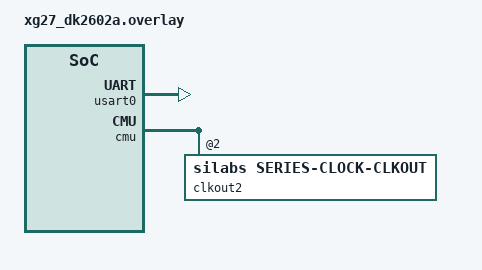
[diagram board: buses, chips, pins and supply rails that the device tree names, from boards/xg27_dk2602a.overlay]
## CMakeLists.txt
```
# Copyright (c) 2026 Silicon Laboratories Inc.
# SPDX-License-Identifier: Apache-2.0

cmake_minimum_required(VERSION 3.20.0)
find_package(Zephyr REQUIRED HINTS $ENV{ZEPHYR_BASE})
project(i2s_silabs_efr32_usart_unity)

# Unity is fetched by west into <workspace>/modules/lib/unity (submanifests/unity.yaml).
# Use the CMake variable ZEPHYR_BASE (set by find_package(Zephyr)), not $ENV{ZEPHYR_BASE}:
# west build often leaves the shell env unset, which breaks $ENV{ZEPHYR_BASE}/../...
if(DEFINED WEST_TOPDIR AND NOT "${WEST_TOPDIR}" STREQUAL "")
  set(UNITY_DIR "${WEST_TOPDIR}/modules/lib/unity/src")
else()
  get_filename_component(UNITY_DIR "${ZEPHYR_BASE}/../modules/lib/unity/src" ABSOLUTE)
endif()

if(NOT EXISTS "${UNITY_DIR}/unity.c")
  message(FATAL_ERROR
    "Unity not found at ${UNITY_DIR}/unity.c\n"
    "From your west workspace (e.g. projects/), run: west update")
endif()

target_include_directories(app PRIVATE ${UNITY_DIR} ${CMAKE_CURRENT_LIST_DIR}/src)
target_compile_definitions(app PRIVATE UNITY_INCLUDE_CONFIG_H)
target_sources(app PRIVATE
    ${UNITY_DIR}/unity.c
    src/test_i2s_efr32_common.c
    src/test_runner.c
    src/test_i2s_efr32_configure.c
    src/test_i2s_efr32_write.c
    src/test_i2s_efr32_read.c
    src/test_i2s_efr32_trigger.c
    src/test_i2s_efr32_sign_extension.c
    src/test_clock_measure.c
)
```

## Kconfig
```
# Copyright (c) 2026 Silicon Laboratories Inc.
# SPDX-License-Identifier: Apache-2.0

mainmenu "I2S Silabs EFR32 USART driver tests (Unity)"

source "Kconfig.zephyr"

config I2S_EFR32_TEST_LOOPBACK
	bool "Run loopback data-integrity tests"
	help
	  Enable the loopback test group. Requires an external wire from
	  USART0 TX to USART0 RX: on xG27-DK2602A use PC0<->PC1; on
	  xG27-RB4194A (BRD4194A) use PA8<->PA7 (PA8 is on the Silabs
	  expansion header pin 13 per boards/xg27_rb4194a devicetree).
	  Without the wire the read side blocks and tests time out.

config I2S_EFR32_TEST_LOOPBACK_DEBUG
	bool "Extra printk in loopback tests (driver RX path hints)"
	depends on I2S_EFR32_TEST_LOOPBACK
	default n
	help
	  Prints short debug lines before pattern verify (expected DMA path,
	  raw 32-bit preview of first RX words). Enable while chasing hardware
	  or wiring issues; leave off for quiet logs.

config I2S_EFR32_TEST_LOOPBACK_TRACE
	bool "Dense printk in loopback tests (hex + raw u32 + stride hints)"
	depends on I2S_EFR32_TEST_LOOPBACK
	default n
	help
	  Large dumps on the UART: extended RX/TX hex, raw memory as uint32_t,
	  and halfword/byte stride hints. For local debug only.

config I2S_EFR32_TEST_FRAME_CLK_HZ
	int "Frame clock used by tests (Hz)"
	default 16000
	help
	  The driver rejects frame clocks below 8 kHz, so 8000 is the
	  practical minimum. Pick something the on-board clock tree can
	  divide down to a small CLKDIV error -- 16 kHz with a 76.8 MHz
	  HFRCODPLL gives an exact divider for 16-bit stereo.

menu "Unity test runner output"

config I2S_EFR32_TEST_VERBOSE
	bool "Verbose output (-v): print TEST(group, name) PASS for each test"
	help
	  Equivalent to passing "-v" to UnityMain. Prints one line per test
	  with the group and case name, instead of a single "." per pass.
	  Recommended when developing or triaging a failure.

config I2S_EFR32_TEST_SILENT
	bool "Silent output (-s): only print failures and the summary"
	depends on !I2S_EFR32_TEST_VERBOSE
	help
	  Equivalent to passing "-s" to UnityMain. Suppresses the "." per
	  pass; only failed assertions and the final totals are printed.
	  Useful for CI logs you only ever read on failure.

config I2S_EFR32_TEST_GROUP_FILTER
	string "Only run TEST_GROUPs whose name contains this substring"
	default ""
	help
	  Equivalent to passing "-g <value>" to UnityMain. Empty string
	  means "run every group". Example: "i2s_efr32_clock" runs only
	  the clock group.

config I2S_EFR32_TEST_NAME_FILTER
	string "Only run TEST cases whose name contains this substring"
	default ""
	help
	  Equivalent to passing "-n <value>" to UnityMain. Empty string
	  means "run every case in the selected group(s)".

config I2S_EFR32_TEST_REPEAT
	int "Repeat the whole suite N times"
	default 1
	range 1 1000
	help
	  Equivalent to passing "-r <N>" to UnityMain. Useful for stress
	  testing or chasing intermittent failures. 1 = run once.

endmenu
```

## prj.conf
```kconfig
# printk only for test output; driver LOG_* would flood UART and cause drops.
CONFIG_LOG=n
CONFIG_DMA=y
CONFIG_I2S=y
CONFIG_I2S_SILABS_EFR32_USART=y
CONFIG_MAIN_STACK_SIZE=4096
CONFIG_PRINTK=y

# Clock-measurement tests use GPIO + k_cycle_get_32() only (em_cmu/em_gpio).
# The I2S driver does not need em_timer / em_prs (see Kconfig.efr32_usart).

# PRS and TIMER1 are used for clock measurement.
CONFIG_SILABS_SISDK_PRS=y
CONFIG_SILABS_SISDK_TIMER=y
```

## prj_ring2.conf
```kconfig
# Ring depth 2 variant (unity_rb_ring2 build directory).
# Merge with prj.conf via CONF_FILE=prj.conf;prj_ring2.conf

CONFIG_I2S_SILABS_EFR32_USART_TX_BLOCK_COUNT=2
CONFIG_I2S_SILABS_EFR32_USART_RX_BLOCK_COUNT=2
```

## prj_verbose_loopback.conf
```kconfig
# Optional overlay for local bring-up: one log line per Unity test (-v)
# and loopback data-integrity groups (requires TX->RX jumper on the board).
#
# From projects/zephyr-4.4.0 (Zephyr tree root):
#
#   west build -b xg27_rb4194a -d build_vlb \
#     tests/drivers/i2s/i2s_silabs_efr32_usart -- \
#     "-DEXTRA_CONF_FILE=prj_verbose_loopback.conf"
#
# PowerShell: quote the -D value so `.conf` is not split into a separate token.
# Bash/zsh:  -DEXTRA_CONF_FILE=prj_verbose_loopback.conf  is fine.
#
# Wiring: DK2602A PC0<->PC1; RB4194A PA8<->PA7.

CONFIG_I2S_EFR32_TEST_VERBOSE=y
CONFIG_I2S_EFR32_TEST_LOOPBACK=y
```

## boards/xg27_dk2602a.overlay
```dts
/*
 * xG27-DK2602A: USART0 I2S on PC0/PC1/PC2 with word-select on PB2.
 * Disables the on-board MX25R8035F flash that otherwise owns USART0.
 *
 * CMU CLKOUT2 (PB0): MCO routing for the test-image-only clock-measurement
 * suite. Not required by the I2S driver itself.
 */

#include <zephyr/dt-bindings/pinctrl/silabs/xg27-pinctrl.h>
#include <zephyr/dt-bindings/dma/silabs/xg27-dma.h>

&dma0 {
	status = "okay";
};

/ {
	aliases {
		i2s-tx = &usart0;
	};
};

&pinctrl {
	usart0_i2s_default: usart0_i2s_default {
		group0 {
			pins = <USART0_TX_PC0>, <USART0_CLK_PC2>, <USART0_CS_PB2>;
			drive-push-pull;
			output-high;
		};

		group1 {
			pins = <USART0_RX_PC1>;
			input-enable;
		};
	};
};

/delete-node/ &mx25r80;

&usart0 {
	compatible = "silabs,efr32-usart-i2s";
	/delete-property/ cs-gpios;
	#address-cells = <1>;
	#size-cells = <0>;
	status = "okay";
	pinctrl-0 = <&usart0_i2s_default>;
	pinctrl-names = "default";
	silabs,mclk-out = <&clkout2>;
	dmas = <&dma0 DMA_REQSEL_USART0TXBL>,
	       <&dma0 DMA_REQSEL_USART0TXBLRIGHT>,
	       <&dma0 DMA_REQSEL_USART0RXDATAV>;
	dma-names = "txbl", "txblright", "rx";
};

&pinctrl {
	clkout_default: clkout_default {
		group0 {
			pins = <CMU_CLKOUT2_PB0>;
			drive-push-pull;
		};
	};
};

/ {
	exportclk: exportclk {
		compatible = "silabs,series2-exportclk";
		#clock-cells = <0>;
		status = "okay";
	};
};

&cmu {
	#address-cells = <1>;
	#size-cells = <0>;
	pinctrl-0 = <&clkout_default>;
	pinctrl-names = "default";

	clkout2: clkout@2 {
		compatible = "silabs,series-clock-clkout";
		reg = <2>;
		#clock-cells = <0>;
		clocks = <&exportclk>;
		clock-div = <4>;
	};
};
```

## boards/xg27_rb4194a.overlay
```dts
/*
 * xG27-RB4194A: USART0 I2S on PC0/PC1/PC2/PC3.
 * Disables on-board flash/display nodes that conflict with USART0.
 *
 * silabs_cmu_clkout: MCO on PB0 (EXP7) for clock-measurement / MCLK bring-up.
 * Not required by the I2S data path itself.
 */

#include <zephyr/dt-bindings/pinctrl/silabs/xg27-pinctrl.h>
#include <zephyr/dt-bindings/dma/silabs/xg27-dma.h>

&dma0 {
	status = "okay";
};

/ {
	aliases {
		i2s-tx = &usart0;
		/delete-property/ spi-flash0;
	};
};

&pinctrl {
	usart0_i2s_default: usart0_i2s_default {
		group0 {
			pins = <USART0_TX_PC0>, <USART0_CLK_PC2>, <USART0_CS_PC3>;
			drive-push-pull;
			output-high;
		};

		group1 {
			pins = <USART0_RX_PC1>;
			input-enable;
		};
	};
};

&mx25r80 {
	status = "disabled";
};

&ls013b7dh03 {
	status = "disabled";
};

&eusart0 {
	status = "disabled";
};

&usart0 {
	compatible = "silabs,efr32-usart-i2s";
	#address-cells = <1>;
	#size-cells = <0>;
	status = "okay";
	pinctrl-0 = <&usart0_i2s_default>;
	pinctrl-names = "default";
	silabs,mclk-out = <&clkout2>;
	dmas = <&dma0 DMA_REQSEL_USART0TXBL>,
	       <&dma0 DMA_REQSEL_USART0TXBLRIGHT>,
	       <&dma0 DMA_REQSEL_USART0RXDATAV>;
	dma-names = "txbl", "txblright", "rx";
};

&pinctrl {
	clkout_default: clkout_default {
		group0 {
			pins = <CMU_CLKOUT2_PB0>;
			drive-push-pull;
		};
	};
};

&cmu {
	#address-cells = <1>;
	#size-cells = <0>;
	pinctrl-0 = <&clkout_default>;
	pinctrl-names = "default";

	clkout2: clkout@2 {
		compatible = "silabs,series-clock-clkout";
		reg = <2>;
		#clock-cells = <0>;
		clocks = <&exportclk>;
		clock-div = <4>;
	};
};

/ {
	exportclk: exportclk {
		compatible = "silabs,series2-exportclk";
		#clock-cells = <0>;
		status = "okay";
	};

	/*
	 * Enables BCLK/LRCLK clock tests (sample PC2/PC3 in test_clock_measure.c).
	 * No expansion-header jumpers required.
	 */
	i2s_clock_measure: i2s-clock-measure {
		compatible = "silabs,i2s-clock-measure";
		status = "okay";
		bclk-capture-port = <0>;
		bclk-capture-pin = <5>;
		lrclk-capture-port = <0>;
		lrclk-capture-pin = <6>;
		bclk-src-exp-pin = <8>;
		lrclk-src-exp-pin = <10>;
		bclk-cap-exp-pin = <12>;
		lrclk-cap-exp-pin = <14>;
	};
};
```

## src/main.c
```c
/*
 * Copyright (c) 2026 Silicon Laboratories Inc.
 * SPDX-License-Identifier: Apache-2.0
 *
 * Zephyr entry point for the Unity-driven i2s_silabs_efr32_usart on-target
 * test app.
 *
 * Test groups (stereo-only driver, channels=2):
 *   TEST_GROUP(i2s_efr32_configure)  - i2s_configure() accept/reject paths
 *   TEST_GROUP(i2s_efr32_config_get) - i2s_config_get() readback semantics
 *   TEST_GROUP(i2s_efr32_states)     - i2s_trigger() state machine
 *   TEST_GROUP(i2s_efr32_io)         - i2s_write()/i2s_read() validation
 *   TEST_GROUP(i2s_efr32_errors)     - ISR-driven ERROR + PREPARE recovery
 *   TEST_GROUP(i2s_efr32_clock)      - USART CLKDIV sanity (Silabs-specific)
 *   TEST_GROUP(i2s_efr32_mclk)       - external MCLK via CMU clkout + PRS
 *                                      capture (auto-skips if no clkout in DT)
 *   TEST_GROUP(i2s_efr32_loopback)   - end-to-end TX -> wire -> RX, channels=2
 *
 * Per-test cleanup (re-deconfigure the device before each test) is done in
 * each TEST_SETUP() / TEST_TEAR_DOWN() via i2s_efr32_test_reset_device().
 * The one-shot suite setup (verify device pointer / ready) runs here in
 * main() before UnityMain(), since Unity Fixture has no per-suite hook.
 */

#include "common.h"
#include "unity_fixture.h"

#include <stdio.h>
#include <zephyr/autoconf.h>
#include <zephyr/device.h>
#include <zephyr/drivers/i2s.h>
#include <zephyr/kernel.h>
#include <zephyr/sys/printk.h>

#define UNITY_MAX_ARGV 12

static void RunAllTests(void)
{
	RUN_TEST_GROUP(i2s_efr32_configure);
	RUN_TEST_GROUP(i2s_efr32_config_get);
	RUN_TEST_GROUP(i2s_efr32_states);
	RUN_TEST_GROUP(i2s_efr32_io);
	RUN_TEST_GROUP(i2s_efr32_errors);
	RUN_TEST_GROUP(i2s_efr32_clock);
	RUN_TEST_GROUP(i2s_efr32_mclk);
#ifdef CONFIG_I2S_EFR32_TEST_LOOPBACK
	RUN_TEST_GROUP(i2s_efr32_loopback);
#endif
}

/* Translate the I2S_EFR32_TEST_* Kconfig knobs into the argv that
 * UnityMain's CLI parser expects. Returns argc. argv[0] is the program
 * name slot Unity ignores. */
static int build_unity_argv(const char **argv, char *repeat_buf,
			    size_t repeat_buf_sz)
{
	int argc = 0;

	argv[argc++] = "i2s_efr32_unity";

#ifdef CONFIG_I2S_EFR32_TEST_VERBOSE
	argv[argc++] = "-v";
#endif
#ifdef CONFIG_I2S_EFR32_TEST_SILENT
	argv[argc++] = "-s";
#endif

	if (sizeof(CONFIG_I2S_EFR32_TEST_GROUP_FILTER) > 1) {
		argv[argc++] = "-g";
		argv[argc++] = CONFIG_I2S_EFR32_TEST_GROUP_FILTER;
	}
	if (sizeof(CONFIG_I2S_EFR32_TEST_NAME_FILTER) > 1) {
		argv[argc++] = "-n";
		argv[argc++] = CONFIG_I2S_EFR32_TEST_NAME_FILTER;
	}
	if (CONFIG_I2S_EFR32_TEST_REPEAT > 1) {
		snprintf(repeat_buf, repeat_buf_sz, "%d",
			 CONFIG_I2S_EFR32_TEST_REPEAT);
		argv[argc++] = "-r";
		argv[argc++] = repeat_buf;
	}

	return argc;
}

static void print_runner_banner(int argc, const char **argv)
{
	printk("\n*** I2S Silabs EFR32 USART driver - Unity test runner ***\n");
	printk("Device: %s @ alias i2s-node0\n", dev_i2s->name);
	printk("Driver mode: STEREO (channels=2, I2SCTRL.MONO=0, DMASPLIT=0)\n");
	printk("Frame clock: %d Hz, slab depth: tx=8 rx=8\n",
	       (int)CONFIG_I2S_EFR32_TEST_FRAME_CLK_HZ);
#ifdef CONFIG_I2S_EFR32_TEST_LOOPBACK
#if defined(CONFIG_BOARD_XG27_RB4194A)
	printk("Loopback group: ENABLED (RB4194A: jumper USART0 I2S TX->RX **PA8->PA7**)\n");
#else
	printk("Loopback group: ENABLED (jumper USART0 TX->RX: PC0<->PC1 on DK2602A)\n");
#endif
#else
	printk("Loopback group: disabled (build with "
	       "CONFIG_I2S_EFR32_TEST_LOOPBACK=y to enable)\n");
#endif
#ifdef CONFIG_I2S_EFR32_TEST_VERBOSE
	printk("Output mode: VERBOSE (-v) - one line per test\n");
#elif defined(CONFIG_I2S_EFR32_TEST_SILENT)
	printk("Output mode: SILENT (-s) - failures + summary only\n");
#else
	printk("Output mode: default - one '.' per pass, 'F' per fail.\n"
	       "  Enable CONFIG_I2S_EFR32_TEST_VERBOSE=y for per-test names,\n"
	       "  or CONFIG_I2S_EFR32_TEST_SILENT=y to suppress dots.\n");
#endif
	if (sizeof(CONFIG_I2S_EFR32_TEST_GROUP_FILTER) > 1) {
		printk("Group filter (-g): \"%s\"\n",
		       CONFIG_I2S_EFR32_TEST_GROUP_FILTER);
	}
	if (sizeof(CONFIG_I2S_EFR32_TEST_NAME_FILTER) > 1) {
		printk("Name filter  (-n): \"%s\"\n",
		       CONFIG_I2S_EFR32_TEST_NAME_FILTER);
	}
	if (CONFIG_I2S_EFR32_TEST_REPEAT > 1) {
		printk("Repeat (-r): %d iterations\n",
		       (int)CONFIG_I2S_EFR32_TEST_REPEAT);
	}

	printk("Unity argv:");
	for (int i = 0; i < argc; i++) {
		printk(" %s", argv[i]);
	}
	printk("\n----------------------------------------\n");
}

int main(void)
{
	/* Give the kernel a moment to bring up the console before we start
	 * pumping Unity output through it -- otherwise the very first
	 * character can land before the UART driver is fully up on some
	 * boards. */
	k_sleep(K_MSEC(100));

	/* One-shot suite setup: if the device is missing/not-ready we abort
	 * up front rather than letting every TEST_SETUP fail with the same
	 * error. */
	if (dev_i2s == NULL) {
		printk("FATAL: I2S device pointer is NULL "
		       "(alias i2s-node0 missing?)\n");
		return 1;
	}
	if (!device_is_ready(dev_i2s)) {
		printk("FATAL: I2S device %s is not ready\n", dev_i2s->name);
		return 1;
	}

	const char *argv[UNITY_MAX_ARGV];
	char repeat_buf[8];
	int argc = build_unity_argv(argv, repeat_buf, sizeof(repeat_buf));

	print_runner_banner(argc, argv);

	int failures = UnityMain(argc, argv, RunAllTests);

	printk("\n----------------------------------------\n");
	printk("*** Unity run complete: %d failure(s) ***\n", failures);
	return failures;
}
```

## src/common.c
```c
/*
 * Copyright (c) 2026 Silicon Laboratories Inc.
 * SPDX-License-Identifier: Apache-2.0
 */

#include "common.h"

#include <string.h>
#include <sys/types.h>
#include <zephyr/sys/printk.h>
#include <zephyr/sys/util.h>

/* Slab depth must exceed CONFIG_I2S_SILABS_EFR32_USART_TX_BLOCK_COUNT
 * (driver's TX ring capacity, default 4) so write_timeout_when_no_dma_consumer
 * can fill the ring AND keep one extra block in hand to assert the
 * sem-timeout path on the next i2s_write(). 8 covers the default and
 * leaves headroom if someone bumps the Kconfig later. */
#define NUM_TX_BLOCKS 8
#define NUM_RX_BLOCKS 8

/* Sized for the worst case (32-bit stereo) so the same slab is reusable
 * across all tests regardless of word size. */
#define MEM_SLAB_BLOCK_SIZE TEST_BLOCK_SIZE_32BIT

K_MEM_SLAB_DEFINE(tx_mem_slab, MEM_SLAB_BLOCK_SIZE, NUM_TX_BLOCKS, 32);
K_MEM_SLAB_DEFINE(rx_mem_slab, MEM_SLAB_BLOCK_SIZE, NUM_RX_BLOCKS, 32);

const struct device *const dev_i2s = DEVICE_DT_GET_OR_NULL(I2S_EFR32_DEV_NODE);

void i2s_efr32_test_make_default_cfg(struct i2s_config *cfg, enum i2s_dir dir)
{
	memset(cfg, 0, sizeof(*cfg));

	cfg->word_size      = 16U;
	cfg->channels       = 2U;
	cfg->format         = I2S_FMT_DATA_FORMAT_I2S;
	cfg->frame_clk_freq = (uint32_t)TEST_FRAME_CLK_HZ;
	cfg->options        = I2S_OPT_BIT_CLK_CONT;
	cfg->block_size     = TEST_BLOCK_SIZE_16BIT;
	cfg->mem_slab       = (dir == I2S_DIR_RX) ? &rx_mem_slab : &tx_mem_slab;
	cfg->timeout        = TEST_TIMEOUT_MS;
}

void i2s_efr32_test_fill_pattern_16(int16_t *block, size_t block_bytes,
				    uint16_t seed)
{
	const size_t n = block_bytes / sizeof(int16_t);

	for (size_t i = 0; i < n; i++) {
		uint16_t v = seed + (uint16_t)i;

		block[i] = (int16_t)((i & 1U) ? (v ^ 0x5A5AU) : v);
	}
}

void i2s_efr32_test_fill_pattern_32(int32_t *block, size_t block_bytes,
				    uint16_t seed)
{
	const size_t n = block_bytes / sizeof(int32_t);

	/* W32D32 layout note (see driver header): the 16-bit audio payload
	 * lives in the LOW half; the HIGH half is zero-padded. We mirror the
	 * pattern in the low half so verify can compare with the same seed. */
	for (size_t i = 0; i < n; i++) {
		uint16_t v = seed + (uint16_t)i;
		uint16_t payload = (i & 1U) ? (v ^ 0x5A5AU) : v;

		block[i] = (int32_t)payload;
	}
}

int i2s_efr32_test_verify_pattern_16(const int16_t *block, size_t block_bytes,
				     uint16_t seed)
{
	const size_t n = block_bytes / sizeof(int16_t);

	for (size_t i = 0; i < n; i++) {
		uint16_t v = seed + (uint16_t)i;
		int16_t  expected = (int16_t)((i & 1U) ? (v ^ 0x5A5AU) : v);

		if (block[i] != expected) {
			printk("verify16: idx=%u expected=0x%04x got=0x%04x\n",
			       (unsigned int)i, (unsigned int)(uint16_t)expected,
			       (unsigned int)(uint16_t)block[i]);
			return -1;
		}
	}
	return 0;
}

int i2s_efr32_test_verify_pattern_32(const int32_t *block, size_t block_bytes,
				     uint16_t seed)
{
	const size_t n = block_bytes / sizeof(int32_t);

	for (size_t i = 0; i < n; i++) {
		uint16_t v = seed + (uint16_t)i;
		int32_t  expected = (int32_t)(uint16_t)((i & 1U)
				    ? (v ^ 0x5A5AU) : v);

		/* Compare only the low 16 bits. On the wire W32D16 carries 16
		 * payload bits zero-padded to a 32-bit slot, and the driver's
		 * rx widen sign-extends int16 -> int32. The high 16 bits of
		 * `block[i]` are therefore a sign-extension of the low 16,
		 * not part of the test payload. */
		if ((int16_t)block[i] != (int16_t)expected) {
			printk("verify32: idx=%u expected_lo=0x%04x got_lo=0x%04x\n",
			       (unsigned int)i,
			       (unsigned int)(uint16_t)expected,
			       (unsigned int)(uint16_t)block[i]);
			return -1;
		}
	}
	return 0;
}

void i2s_efr32_test_reset_device(void)
{
	struct i2s_config null_cfg = { 0 };

	/* Best-effort: the driver treats a NULL/zero cfg as a request to
	 * deconfigure both directions, returning the device to NOT_READY.
	 * Ignore the return code - it is harmless if the previous test
	 * already left the device in NOT_READY. */
	(void)i2s_configure(dev_i2s, I2S_DIR_BOTH, &null_cfg);
}
```

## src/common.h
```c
/*
 * Copyright (c) 2026 Silicon Laboratories Inc.
 * SPDX-License-Identifier: Apache-2.0
 *
 * Shared helpers for the Unity-driven i2s_silabs_efr32_usart on-target
 * test app: device handle, mem-slab plumbing, default-cfg builder, pattern
 * fill/verify, and a setup helper that test groups call from TEST_SETUP().
 */

#ifndef I2S_EFR32_TEST_COMMON_H
#define I2S_EFR32_TEST_COMMON_H

#include <stdbool.h>
#include <stdint.h>
#include <zephyr/device.h>
#include <zephyr/drivers/i2s.h>
#include <zephyr/kernel.h>

#define I2S_EFR32_DEV_NODE DT_ALIAS(i2s_node0)

#define TEST_FRAME_CLK_HZ  CONFIG_I2S_EFR32_TEST_FRAME_CLK_HZ
#define TEST_TIMEOUT_MS    1000

/* 32 stereo frames per block. At 16 kHz / 16-bit stereo this is 2 ms of
 * audio per block, small enough that DRAIN/STOP test cases finish quickly
 * but big enough that a single LDMA transfer is not degenerate. */
#define TEST_SAMPLES_PER_BLOCK 32
#define TEST_BLOCK_SIZE_16BIT  (TEST_SAMPLES_PER_BLOCK * 2 * sizeof(int16_t))
#define TEST_BLOCK_SIZE_32BIT  (TEST_SAMPLES_PER_BLOCK * 2 * sizeof(int32_t))

extern struct k_mem_slab tx_mem_slab;
extern struct k_mem_slab rx_mem_slab;

extern const struct device *const dev_i2s;

/* Build a baseline-valid i2s_config for the Silabs driver: 16 kHz, 16-bit,
 * I2S format, controller TX+RX, no PINGPONG/LOOPBACK/PCM, mem-slab plumbing
 * already filled in. Caller may mutate fields before passing to
 * i2s_configure(). */
void i2s_efr32_test_make_default_cfg(struct i2s_config *cfg, enum i2s_dir dir);

/* Fill `block` with a deterministic ramp pattern keyed on `seed` so that
 * verify_pattern() can detect missing/duplicated samples. Callers ensure
 * `block_bytes` matches the configured word size and is a multiple of
 * 2*word_size (one stereo frame). */
void i2s_efr32_test_fill_pattern_16(int16_t *block, size_t block_bytes,
				    uint16_t seed);
void i2s_efr32_test_fill_pattern_32(int32_t *block, size_t block_bytes,
				    uint16_t seed);

/* Returns 0 on match, -1 on first divergence. Print mismatch via printk. */
int  i2s_efr32_test_verify_pattern_16(const int16_t *block, size_t block_bytes,
				      uint16_t seed);
int  i2s_efr32_test_verify_pattern_32(const int32_t *block, size_t block_bytes,
				      uint16_t seed);

/* Common per-test cleanup: blow away any leftover state from the previous
 * test by passing NULL cfg (the driver treats this as "deconfigure both
 * directions"). Call from each TEST_SETUP() / TEST_TEAR_DOWN(). */
void i2s_efr32_test_reset_device(void);

#endif /* I2S_EFR32_TEST_COMMON_H */
```

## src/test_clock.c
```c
/*
 * Copyright (c) 2026 Silicon Laboratories Inc.
 * SPDX-License-Identifier: Apache-2.0
 *
 * Silabs-specific tests that confirm i2s_configure() actually programmed
 * the EFR32 USART CLKDIV register with a value consistent with the
 * requested frame clock. These check the emlib USART_InitI2s() side
 * effects directly on real registers.
 *
 * The tests are intentionally relative (they compare CLKDIV ratios for
 * two different frame clocks) so they do not need to know the exact
 * HFPERCLK rate at compile time. The driver writes CLKDIV via
 * USART_InitI2s with baudrate = (frame_clk * 2 * word_size) / 2, and the
 * EFR32 USART formula is approximately
 *   CLKDIV ~ 256 * (HFPERCLK / (2 * baudrate) - 1)
 * Halving baudrate (e.g. 16 kHz -> 8 kHz, were the latter accepted) would
 * roughly double CLKDIV. We exploit this monotonic relation below.
 */

#include "common.h"
#include "unity_fixture.h"

#include <em_usart.h>
#include <soc.h>

#include <zephyr/devicetree.h>
#include <zephyr/drivers/i2s.h>

/* Pull the USART base from devicetree the same way the driver does
 * (DT_REG_ADDR on the i2s alias node). */
#define I2S_BASE ((USART_TypeDef *)DT_REG_ADDR(I2S_EFR32_DEV_NODE))

TEST_GROUP(i2s_efr32_clock);

TEST_SETUP(i2s_efr32_clock)
{
	i2s_efr32_test_reset_device();
}

TEST_TEAR_DOWN(i2s_efr32_clock)
{
	i2s_efr32_test_reset_device();
}

static uint32_t configure_and_read_clkdiv(uint32_t frame_clk_hz,
					  uint8_t word_size)
{
	struct i2s_config cfg;

	i2s_efr32_test_make_default_cfg(&cfg, I2S_DIR_TX);
	cfg.frame_clk_freq = frame_clk_hz;
	cfg.word_size      = word_size;
	cfg.block_size     = (word_size == 32U) ? TEST_BLOCK_SIZE_32BIT
					        : TEST_BLOCK_SIZE_16BIT;

	TEST_ASSERT_EQUAL_INT_MESSAGE(0,
		i2s_configure(dev_i2s, I2S_DIR_TX, &cfg),
		"configure(<freq>, <word_size>) failed");

	return I2S_BASE->CLKDIV;
}

TEST(i2s_efr32_clock, nonzero_clkdiv_after_configure)
{
	uint32_t clkdiv = configure_and_read_clkdiv(16000U, 16U);

	TEST_ASSERT_NOT_EQUAL_MESSAGE(0U, clkdiv,
		"CLKDIV must be programmed (non-zero) after configure");
}

TEST(i2s_efr32_clock, doubling_word_size_halves_divider)
{
	uint32_t clkdiv_w16 = configure_and_read_clkdiv(16000U, 16U);

	/* Bring the device back to NOT_READY before reconfiguring with a
	 * different word size. Without this, the second configure would
	 * collide with the still-valid TX cfg and, depending on driver
	 * mood, either reject the new word size outright or stall on the
	 * cfg_valid mutex. */
	i2s_efr32_test_reset_device();

	uint32_t clkdiv_w32 = configure_and_read_clkdiv(16000U, 32U);

	/* 32-bit word at the same frame rate needs DOUBLE the bit clock,
	 * so CLKDIV must be roughly HALF. Allow +/- 1 LSB rounding error
	 * in the integer divisor part (CLKDIV[16:8]). */
	uint32_t int_w16 = clkdiv_w16 >> 8;
	uint32_t int_w32 = clkdiv_w32 >> 8;

	TEST_ASSERT_TRUE_MESSAGE(int_w16 > 0U && int_w32 > 0U,
		"both dividers must be > 0");
	TEST_ASSERT_UINT_WITHIN_MESSAGE(2U, int_w16, int_w32 * 2U,
		"32-bit CLKDIV should be ~half of 16-bit CLKDIV");
}

TEST(i2s_efr32_clock, halving_frame_clk_doubles_divider)
{
	uint32_t clkdiv_44k = configure_and_read_clkdiv(44100U, 16U);

	i2s_efr32_test_reset_device();

	uint32_t clkdiv_22k = configure_and_read_clkdiv(22050U, 16U);

	uint32_t int_44 = clkdiv_44k >> 8;
	uint32_t int_22 = clkdiv_22k >> 8;

	TEST_ASSERT_TRUE_MESSAGE(int_44 > 0U && int_22 > 0U,
		"both dividers must be > 0");
	TEST_ASSERT_UINT_WITHIN_MESSAGE(2U, int_22, int_44 * 2U,
		"22.05k CLKDIV should be ~double of 44.1k CLKDIV");
}
```

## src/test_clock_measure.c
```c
/*
 * Copyright (c) 2026 Silicon Laboratories Inc.
 *
 * SPDX-License-Identifier: Apache-2.0
 *
 * Clock-measurement tests for the I2S USART driver - test-image-only.
 *
 *   MCLK (MCO) — verifies CMU_ClockFreqGet(EXPCLK) / prescaler against
 *                HFRCODPLL / prescaler (the EXPORTCLK divider that drives PA4).
 *
 *   BCLK       — read CLKDIV via USART_BaudrateGet(USART0) after I2S configure.
 *                On xG27 the USART output pins (PC2/PC3) cannot be read back via
 *                GPIO DIN while held in peripheral push-pull, so we verify the
 *                hardware register the driver wrote instead of bit-banging GPIO.
 *
 *   LRCLK      — derived from BCLK / (2 * word_size). USART I2S generates the
 *                word-select directly from the bit clock; no separate divider.
 */

#include <stdbool.h>
#include <stdint.h>
#include <string.h>

#include <zephyr/devicetree.h>
#include <zephyr/kernel.h>
#include <zephyr/sys/printk.h>

#include <em_cmu.h>
#include <em_usart.h>

#include "unity.h"
#include "test_i2s_efr32_common.h"
#include "unity_config.h"

#if DT_HAS_COMPAT_STATUS_OKAY(silabs_series_clock_clkout)
#define MCO_NODE         DT_COMPAT_GET_ANY_STATUS_OKAY(silabs_series_clock_clkout)
#define MCO_CLKOUT_IDX   DT_REG_ADDR(MCO_NODE)
#define MCO_PRESCALER    DT_PROP_OR(MCO_NODE, clock_div, 1)
#define HAS_MCO_MEASURE  1
#else
#define HAS_MCO_MEASURE  0
#endif

#if DT_HAS_COMPAT_STATUS_OKAY(silabs_i2s_clock_measure)
#define HAS_CLOCK_VERIFY 1
#else
#define HAS_CLOCK_VERIFY 0
#endif

#define I2S_USART_BASE   ((USART_TypeDef *)DT_REG_ADDR(DT_ALIAS(i2s_tx)))

#define CLOCK_TOLERANCE_NUM 5
#define CLOCK_TOLERANCE_DEN 100

void tc_clock_teardown(void)
{
	/* No TIMER/PRS resources to release. */
}

static bool freq_within_tolerance(uint32_t measured, uint32_t expected)
{
	if (expected == 0U) {
		return false;
	}

	uint64_t tol = ((uint64_t)expected * CLOCK_TOLERANCE_NUM) / CLOCK_TOLERANCE_DEN;
	uint64_t lo = (uint64_t)expected - tol;
	uint64_t hi = (uint64_t)expected + tol;

	return ((uint64_t)measured >= lo) && ((uint64_t)measured <= hi);
}

static uint32_t hfrcodpll_hz_get(void)
{
	uint32_t hz = (uint32_t)CMU_HFRCODPLLBandGet();

	if (hz == 0U || hz == (uint32_t)cmuHFRCODPLLFreq_UserDefined) {
		hz = CMU_ClockFreqGet(cmuClock_SYSCLK);
	}
	if (hz == 0U) {
		hz = 76800000U;
	}
	return hz;
}

#if HAS_MCO_MEASURE
static uint32_t mco_expected_hz_from_expclk(void)
{
	uint32_t expclk = (uint32_t)CMU_ClockFreqGet(cmuClock_EXPCLK);
	uint32_t hfrco = hfrcodpll_hz_get();

	if (expclk == 0U || (hfrco / expclk) >= 4U) {
		expclk = hfrco;
	}

	return expclk / (uint32_t)MCO_PRESCALER;
}
#endif /* HAS_MCO_MEASURE */

#if HAS_CLOCK_VERIFY
/*
 * Configure I2S TX for `word_size` so the driver programs USART CLKDIV, then
 * read the actual baudrate back out of USART0_CLKDIV via emlib. We do NOT
 * trigger START — programming the clock divider does not require streaming.
 */
static uint32_t bclk_from_usart_register(uint8_t word_size)
{
	int ret = test_configure_tx(word_size, 0);

	TEST_ASSERT_EQUAL_INT_MESSAGE(0, ret, "i2s_configure(TX) failed");

	return USART_BaudrateGet(I2S_USART_BASE);
}

static void reset_after_verify(void)
{
	i2s_trigger(I2S_DEV, I2S_DIR_TX, I2S_TRIGGER_DROP);
	test_reset_driver();
}
#endif /* HAS_CLOCK_VERIFY */

void test_clock__mclk_routed_at_expected_ratio(void)
{
#if !HAS_MCO_MEASURE
	TEST_IGNORE_MESSAGE("requires silabs,series-clock-clkout in board overlay");
#else
	uint32_t hfrco = hfrcodpll_hz_get();
	uint32_t from_hfrco = hfrco / (uint32_t)MCO_PRESCALER;
	uint32_t from_expclk = mco_expected_hz_from_expclk();

	printk("MCO: EXPCLK/%u=%u Hz HFRCODPLL/%u=%u Hz (CLKOUT%u, config verify)\n",
	       (unsigned int)MCO_PRESCALER, from_expclk,
	       (unsigned int)MCO_PRESCALER, from_hfrco,
	       (unsigned int)MCO_CLKOUT_IDX);
	unity_output_flush();

	TEST_ASSERT_NOT_EQUAL_MESSAGE(0U, from_expclk, "EXPORTCLK frequency is zero");
	TEST_ASSERT_TRUE_MESSAGE(freq_within_tolerance(from_expclk, from_hfrco),
				 "MCO ratio: EXPCLK/prescaler vs HFRCODPLL/prescaler outside +/-5%");
#endif
}

void test_clock__bclk_matches_configured_rate__w16(void)
{
#if !HAS_CLOCK_VERIFY
	TEST_IGNORE_MESSAGE("requires silabs,i2s-clock-measure in board overlay");
#else
	uint32_t bclk_expected = TEST_FRAME_CLK * 2U * 16U;
	uint32_t lrclk_expected = TEST_FRAME_CLK;
	uint32_t bclk_hz = bclk_from_usart_register(16U);
	uint32_t lrclk_hz = bclk_hz / (2U * 16U);

	printk("BCLK w16: register=%u Hz expected=%u Hz (PCLK=%u)\n",
	       bclk_hz, bclk_expected,
	       (unsigned int)CMU_ClockFreqGet(cmuClock_PCLK));
	printk("LRCLK w16: derived=%u Hz expected=%u Hz\n", lrclk_hz, lrclk_expected);
	unity_output_flush();

	reset_after_verify();

	TEST_ASSERT_NOT_EQUAL_MESSAGE(0U, bclk_hz, "USART_BaudrateGet returned 0");
	TEST_ASSERT_TRUE_MESSAGE(freq_within_tolerance(bclk_hz, bclk_expected),
				 "BCLK w16 outside +/-5% of frame_clk*2*word_size");
	TEST_ASSERT_TRUE_MESSAGE(freq_within_tolerance(lrclk_hz, lrclk_expected),
				 "LRCLK w16 outside +/-5% of frame_clk");
#endif
}

void test_clock__bclk_matches_configured_rate__w32(void)
{
#if !HAS_CLOCK_VERIFY
	TEST_IGNORE_MESSAGE("requires silabs,i2s-clock-measure in board overlay");
#else
	uint32_t bclk_expected = TEST_FRAME_CLK * 2U * 32U;
	uint32_t lrclk_expected = TEST_FRAME_CLK;
	uint32_t bclk_hz = bclk_from_usart_register(32U);
	uint32_t lrclk_hz = bclk_hz / (2U * 32U);

	printk("BCLK w32: register=%u Hz expected=%u Hz (PCLK=%u)\n",
	       bclk_hz, bclk_expected,
	       (unsigned int)CMU_ClockFreqGet(cmuClock_PCLK));
	printk("LRCLK w32: derived=%u Hz expected=%u Hz\n", lrclk_hz, lrclk_expected);
	unity_output_flush();

	reset_after_verify();

	TEST_ASSERT_NOT_EQUAL_MESSAGE(0U, bclk_hz, "USART_BaudrateGet returned 0");
	TEST_ASSERT_TRUE_MESSAGE(freq_within_tolerance(bclk_hz, bclk_expected),
				 "BCLK w32 outside +/-5% of frame_clk*2*word_size");
	TEST_ASSERT_TRUE_MESSAGE(freq_within_tolerance(lrclk_hz, lrclk_expected),
				 "LRCLK w32 outside +/-5% of frame_clk");
#endif
}
```

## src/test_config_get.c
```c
/*
 * Copyright (c) 2026 Silicon Laboratories Inc.
 * SPDX-License-Identifier: Apache-2.0
 *
 * i2s_config_get() coverage. The driver returns a pointer into its internal
 * per-direction cfg struct iff that direction is currently configured, and
 * NULL otherwise. We verify both branches plus the round-trip through
 * deconfigure (NULL cfg) so the cfg_valid bookkeeping is exercised end to
 * end against the live API.
 */

#include "common.h"
#include "unity_fixture.h"

#include <stddef.h>
#include <zephyr/drivers/i2s.h>

TEST_GROUP(i2s_efr32_config_get);

TEST_SETUP(i2s_efr32_config_get)
{
	i2s_efr32_test_reset_device();
}

TEST_TEAR_DOWN(i2s_efr32_config_get)
{
	i2s_efr32_test_reset_device();
}

TEST(i2s_efr32_config_get, get_tx_after_configure__returns_same_fields)
{
	struct i2s_config cfg;

	i2s_efr32_test_make_default_cfg(&cfg, I2S_DIR_TX);
	TEST_ASSERT_EQUAL_INT_MESSAGE(0,
		i2s_configure(dev_i2s, I2S_DIR_TX, &cfg),
		"baseline TX configure must succeed");

	const struct i2s_config *got = i2s_config_get(dev_i2s, I2S_DIR_TX);

	TEST_ASSERT_NOT_NULL_MESSAGE(got,
		"config_get(TX) must return non-NULL after configure");
	TEST_ASSERT_EQUAL_UINT32_MESSAGE(cfg.frame_clk_freq, got->frame_clk_freq,
		"frame_clk_freq mismatch");
	TEST_ASSERT_EQUAL_UINT8_MESSAGE(cfg.word_size, got->word_size,
		"word_size mismatch");
	TEST_ASSERT_EQUAL_UINT8_MESSAGE(cfg.channels, got->channels,
		"channels mismatch");
	TEST_ASSERT_EQUAL_UINT8_MESSAGE(cfg.format, got->format,
		"format mismatch");
	TEST_ASSERT_EQUAL_size_t_MESSAGE(cfg.block_size, got->block_size,
		"block_size mismatch");
}

TEST(i2s_efr32_config_get, get_rx_when_only_tx_configured__returns_null)
{
	struct i2s_config cfg;

	i2s_efr32_test_make_default_cfg(&cfg, I2S_DIR_TX);
	TEST_ASSERT_EQUAL_INT_MESSAGE(0,
		i2s_configure(dev_i2s, I2S_DIR_TX, &cfg),
		"TX configure must succeed");

	TEST_ASSERT_NULL_MESSAGE(i2s_config_get(dev_i2s, I2S_DIR_RX),
		"RX must report NULL when only TX has been configured");
}

TEST(i2s_efr32_config_get, get_tx_after_deconfigure__returns_null)
{
	struct i2s_config cfg;

	i2s_efr32_test_make_default_cfg(&cfg, I2S_DIR_TX);
	TEST_ASSERT_EQUAL_INT_MESSAGE(0,
		i2s_configure(dev_i2s, I2S_DIR_TX, &cfg),
		"TX configure must succeed");

	/* Driver treats NULL cfg as "deconfigure both directions": cfg_valid
	 * is cleared and state returns to NOT_READY. */
	TEST_ASSERT_EQUAL_INT_MESSAGE(0,
		i2s_configure(dev_i2s, I2S_DIR_TX, NULL),
		"deconfigure with NULL cfg must succeed");

	TEST_ASSERT_NULL_MESSAGE(i2s_config_get(dev_i2s, I2S_DIR_TX),
		"TX must report NULL after deconfigure");
}

TEST(i2s_efr32_config_get, get_rx_after_configure_both_dirs__returns_rx_cfg)
{
	struct i2s_config tx_cfg;
	struct i2s_config rx_cfg;

	i2s_efr32_test_make_default_cfg(&tx_cfg, I2S_DIR_TX);
	i2s_efr32_test_make_default_cfg(&rx_cfg, I2S_DIR_RX);

	TEST_ASSERT_EQUAL_INT_MESSAGE(0,
		i2s_configure(dev_i2s, I2S_DIR_TX, &tx_cfg),
		"TX configure must succeed");
	TEST_ASSERT_EQUAL_INT_MESSAGE(0,
		i2s_configure(dev_i2s, I2S_DIR_RX, &rx_cfg),
		"RX configure (matching TX) must succeed");

	const struct i2s_config *got = i2s_config_get(dev_i2s, I2S_DIR_RX);

	TEST_ASSERT_NOT_NULL_MESSAGE(got,
		"config_get(RX) must return non-NULL after RX configure");
	TEST_ASSERT_EQUAL_UINT32_MESSAGE(rx_cfg.frame_clk_freq,
		got->frame_clk_freq,
		"RX frame_clk_freq must match what we configured for RX");
}
```

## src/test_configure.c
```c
/*
 * Copyright (c) 2026 Silicon Laboratories Inc.
 * SPDX-License-Identifier: Apache-2.0
 *
 * Integration tests for i2s_configure(): accept/reject predicates
 * exercised through the live Zephyr API on a real EFR32 USART. Covers
 * the mutex, cfg_valid bookkeeping, and the TX/RX cross-validation path.
 */

#include "common.h"
#include "unity_fixture.h"

#include <errno.h>
#include <zephyr/drivers/i2s.h>

TEST_GROUP(i2s_efr32_configure);

TEST_SETUP(i2s_efr32_configure)
{
	/* Blow away any leftover state from the previous test so each case
	 * starts in NOT_READY. */
	i2s_efr32_test_reset_device();
}

TEST_TEAR_DOWN(i2s_efr32_configure)
{
	i2s_efr32_test_reset_device();
}

TEST(i2s_efr32_configure, valid_16bit_44k1__accepted)
{
	struct i2s_config cfg;

	i2s_efr32_test_make_default_cfg(&cfg, I2S_DIR_TX);
	cfg.frame_clk_freq = 44100U;

	TEST_ASSERT_EQUAL_INT_MESSAGE(0,
		i2s_configure(dev_i2s, I2S_DIR_TX, &cfg),
		"valid 16-bit/44.1 kHz config should be accepted");
}

TEST(i2s_efr32_configure, sub_8k_frame_clk__rejected)
{
	struct i2s_config cfg;

	i2s_efr32_test_make_default_cfg(&cfg, I2S_DIR_TX);
	/* Driver predicate: frame_clk_freq < 8000U is rejected. 4000 is
	 * unambiguously below that threshold; 8000 itself is on the
	 * accepted side. */
	cfg.frame_clk_freq = 4000U;

	TEST_ASSERT_EQUAL_INT_MESSAGE(-EINVAL,
		i2s_configure(dev_i2s, I2S_DIR_TX, &cfg),
		"Silabs driver requires >= 8 kHz frame clock");
}

TEST(i2s_efr32_configure, word_24bit__rejected)
{
	struct i2s_config cfg;

	i2s_efr32_test_make_default_cfg(&cfg, I2S_DIR_TX);
	cfg.word_size = 24U;

	TEST_ASSERT_EQUAL_INT_MESSAGE(-EINVAL,
		i2s_configure(dev_i2s, I2S_DIR_TX, &cfg),
		"Silabs driver supports only 16/32-bit words");
}

TEST(i2s_efr32_configure, pcm_format__rejected)
{
	struct i2s_config cfg;

	i2s_efr32_test_make_default_cfg(&cfg, I2S_DIR_TX);
	cfg.format = I2S_FMT_DATA_FORMAT_PCM_SHORT;

	TEST_ASSERT_EQUAL_INT_MESSAGE(-EINVAL,
		i2s_configure(dev_i2s, I2S_DIR_TX, &cfg),
		"Silabs driver does not support PCM formats");
}

TEST(i2s_efr32_configure, tx_rx_incompatible__rejected)
{
	struct i2s_config tx_cfg;
	struct i2s_config rx_cfg;

	i2s_efr32_test_make_default_cfg(&tx_cfg, I2S_DIR_TX);
	i2s_efr32_test_make_default_cfg(&rx_cfg, I2S_DIR_RX);
	rx_cfg.frame_clk_freq = 48000U; /* TX is 16 kHz -> mismatch */

	TEST_ASSERT_EQUAL_INT_MESSAGE(0,
		i2s_configure(dev_i2s, I2S_DIR_TX, &tx_cfg),
		"TX config alone should be accepted");
	TEST_ASSERT_EQUAL_INT_MESSAGE(-EINVAL,
		i2s_configure(dev_i2s, I2S_DIR_RX, &rx_cfg),
		"RX config that conflicts with TX must be rejected");
}

TEST(i2s_efr32_configure, left_justified_stereo__accepted)
{
	struct i2s_config cfg;

	i2s_efr32_test_make_default_cfg(&cfg, I2S_DIR_TX);
	cfg.format = (cfg.format & ~I2S_FMT_DATA_FORMAT_MASK) |
		     I2S_FMT_DATA_FORMAT_LEFT_JUSTIFIED;

	TEST_ASSERT_EQUAL_INT_MESSAGE(0,
		i2s_configure(dev_i2s, I2S_DIR_TX, &cfg),
		"LEFT_JUSTIFIED stereo must be accepted");
}

TEST(i2s_efr32_configure, left_justified_mono__accepted)
{
	struct i2s_config cfg;

	i2s_efr32_test_make_default_cfg(&cfg, I2S_DIR_TX);
	cfg.format = (cfg.format & ~I2S_FMT_DATA_FORMAT_MASK) |
		     I2S_FMT_DATA_FORMAT_LEFT_JUSTIFIED;
	cfg.channels = 1U;
	cfg.block_size = TEST_BLOCK_SIZE_16BIT / 2U;

	TEST_ASSERT_EQUAL_INT_MESSAGE(0,
		i2s_configure(dev_i2s, I2S_DIR_TX, &cfg),
		"LEFT_JUSTIFIED mono TX must be accepted");
}

TEST(i2s_efr32_configure, clock_format_nf_ib__accepted)
{
	struct i2s_config cfg;

	i2s_efr32_test_make_default_cfg(&cfg, I2S_DIR_TX);
	cfg.format = (cfg.format & ~I2S_FMT_CLK_FORMAT_MASK) |
		     I2S_FMT_CLK_NF_IB;

	TEST_ASSERT_EQUAL_INT_MESSAGE(0,
		i2s_configure(dev_i2s, I2S_DIR_TX, &cfg),
		"I2S + NF_IB clock format must configure (clockMode1 path)");
}

TEST(i2s_efr32_configure, clock_format_if_ib__accepted)
{
	struct i2s_config cfg;

	i2s_efr32_test_make_default_cfg(&cfg, I2S_DIR_TX);
	cfg.format = (cfg.format & ~I2S_FMT_CLK_FORMAT_MASK) |
		     I2S_FMT_CLK_IF_IB;

	TEST_ASSERT_EQUAL_INT_MESSAGE(0,
		i2s_configure(dev_i2s, I2S_DIR_TX, &cfg),
		"I2S + IF_IB clock format must configure (clockMode1 path)");
}

TEST(i2s_efr32_configure, options_bit_clk_gated__accepted)
{
	struct i2s_config cfg;

	i2s_efr32_test_make_default_cfg(&cfg, I2S_DIR_TX);
	cfg.options = I2S_OPT_BIT_CLK_GATED;

	TEST_ASSERT_EQUAL_INT_MESSAGE(0,
		i2s_configure(dev_i2s, I2S_DIR_TX, &cfg),
		"I2S_OPT_BIT_CLK_GATED is within SUPPORTED_OPTIONS");
}

TEST(i2s_efr32_configure, unsupported_option_bit__rejected)
{
	struct i2s_config cfg;

	i2s_efr32_test_make_default_cfg(&cfg, I2S_DIR_TX);
	cfg.options = I2S_OPT_BIT_CLK_CONT | I2S_OPT_LOOPBACK;

	TEST_ASSERT_EQUAL_INT_MESSAGE(-EINVAL,
		i2s_configure(dev_i2s, I2S_DIR_TX, &cfg),
		"options outside SUPPORTED_OPTIONS mask must be rejected");
}

TEST(i2s_efr32_configure, bit_clk_target_option__rejected)
{
	struct i2s_config cfg;

	i2s_efr32_test_make_default_cfg(&cfg, I2S_DIR_TX);
	cfg.options = I2S_OPT_BIT_CLK_CONT | I2S_OPT_BIT_CLK_TARGET;

	TEST_ASSERT_EQUAL_INT_MESSAGE(-EINVAL,
		i2s_configure(dev_i2s, I2S_DIR_TX, &cfg),
		"I2S_OPT_BIT_CLK_TARGET must be rejected");
}

TEST(i2s_efr32_configure, frame_clk_target_option__rejected)
{
	struct i2s_config cfg;

	i2s_efr32_test_make_default_cfg(&cfg, I2S_DIR_TX);
	cfg.options = I2S_OPT_BIT_CLK_CONT | I2S_OPT_FRAME_CLK_TARGET;

	TEST_ASSERT_EQUAL_INT_MESSAGE(-EINVAL,
		i2s_configure(dev_i2s, I2S_DIR_TX, &cfg),
		"I2S_OPT_FRAME_CLK_TARGET must be rejected");
}

TEST(i2s_efr32_configure, dir_both_valid_cfg__enosys)
{
	struct i2s_config cfg;

	i2s_efr32_test_make_default_cfg(&cfg, I2S_DIR_TX);

	TEST_ASSERT_EQUAL_INT_MESSAGE(-ENOSYS,
		i2s_configure(dev_i2s, I2S_DIR_BOTH, &cfg),
		"I2S_DIR_BOTH with a non-deconfig cfg must return -ENOSYS");
}

TEST(i2s_efr32_configure, word_size_zero__rejected)
{
	struct i2s_config cfg;

	i2s_efr32_test_make_default_cfg(&cfg, I2S_DIR_TX);
	cfg.word_size = 0U;

	TEST_ASSERT_EQUAL_INT_MESSAGE(-EINVAL,
		i2s_configure(dev_i2s, I2S_DIR_TX, &cfg),
		"word_size==0 must be rejected");
}

TEST(i2s_efr32_configure, channels_zero__rejected)
{
	struct i2s_config cfg;

	i2s_efr32_test_make_default_cfg(&cfg, I2S_DIR_TX);
	cfg.channels = 0U;

	TEST_ASSERT_EQUAL_INT_MESSAGE(-EINVAL,
		i2s_configure(dev_i2s, I2S_DIR_TX, &cfg),
		"channels==0 must be rejected");
}

TEST(i2s_efr32_configure, block_size_zero__rejected)
{
	struct i2s_config cfg;

	i2s_efr32_test_make_default_cfg(&cfg, I2S_DIR_TX);
	cfg.block_size = 0U;

	TEST_ASSERT_EQUAL_INT_MESSAGE(-EINVAL,
		i2s_configure(dev_i2s, I2S_DIR_TX, &cfg),
		"block_size==0 must be rejected");
}

TEST(i2s_efr32_configure, block_size_not_frame_multiple__rejected)
{
	struct i2s_config cfg;

	i2s_efr32_test_make_default_cfg(&cfg, I2S_DIR_TX);
	/* Stereo 16-bit: frame_bytes = 4. block_size = 6 is not a multiple. */
	cfg.block_size = 6U;

	TEST_ASSERT_EQUAL_INT_MESSAGE(-EINVAL,
		i2s_configure(dev_i2s, I2S_DIR_TX, &cfg),
		"block_size must be a multiple of frame bytes");
}
```

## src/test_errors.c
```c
/*
 * Copyright (c) 2026 Silicon Laboratories Inc.
 * SPDX-License-Identifier: Apache-2.0
 *
 * ISR / error-recovery integration tests.
 *
 * The driver's ISR (i2s_efr32_isr) sets state=ERROR on USART TXUF (TX
 * underrun) or RXOF (RX overrun). The only documented path back to
 * READY is i2s_trigger(.., I2S_TRIGGER_PREPARE), which only succeeds
 * when at least one stream is in ERROR -- so PREPARE returning 0 is a
 * reliable witness that the ISR did set ERROR. Using PREPARE this way
 * also exercises the recovery branch in the same test.
 *
 * Why software-injection:
 *   On EFR32 Series 2 USART configured as I2S master, the controller
 *   only shifts (and only generates SCLK transitions) when the TX
 *   buffer has data. Starting TX with an empty queue therefore leaves
 *   the line idle and TXUF never asserts on its own. RXOF likewise
 *   needs another driver feeding SCLK + data, which we do not have
 *   without an external loopback. The reliable, hardware-independent
 *   way to verify the ISR error path is to write the IF flag directly
 *   via USART_IntSet(); that pends the same interrupt the hardware
 *   would have raised, and the ISR runs through the same code path.
 *
 * The injection takes effect within one IRQ latency (microseconds);
 * we sleep 5 ms after the write to give the ISR room to run before
 * we sample the state via PREPARE.
 */

#include "common.h"
#include "unity_fixture.h"

#include <em_usart.h>
#include <soc.h>

#include <errno.h>
#include <zephyr/devicetree.h>
#include <zephyr/drivers/i2s.h>
#include <zephyr/kernel.h>

#define I2S_BASE ((USART_TypeDef *)DT_REG_ADDR(I2S_EFR32_DEV_NODE))

#define ISR_SETTLE_MS 5

TEST_GROUP(i2s_efr32_errors);

TEST_SETUP(i2s_efr32_errors)
{
	i2s_efr32_test_reset_device();
}

TEST_TEAR_DOWN(i2s_efr32_errors)
{
	/* DROP first so any in-flight DMA on the previous test's channel
	 * is torn down before we deconfigure the USART out from under it. */
	(void)i2s_trigger(dev_i2s, I2S_DIR_BOTH, I2S_TRIGGER_DROP);
	i2s_efr32_test_reset_device();
}

static int configure_default_tx(void)
{
	struct i2s_config cfg;

	i2s_efr32_test_make_default_cfg(&cfg, I2S_DIR_TX);
	return i2s_configure(dev_i2s, I2S_DIR_TX, &cfg);
}

static int configure_default_rx(void)
{
	struct i2s_config cfg;

	i2s_efr32_test_make_default_cfg(&cfg, I2S_DIR_RX);
	return i2s_configure(dev_i2s, I2S_DIR_RX, &cfg);
}

TEST(i2s_efr32_errors, txuf_underrun_transitions_to_error)
{
	TEST_ASSERT_EQUAL_INT_MESSAGE(0, configure_default_tx(),
		"configure TX failed");
	TEST_ASSERT_EQUAL_INT_MESSAGE(0,
		i2s_trigger(dev_i2s, I2S_DIR_TX, I2S_TRIGGER_START),
		"START TX with empty queue must succeed");

	/* configure already enabled USART_IF_TXUF in IEN, so pending the
	 * IF flag in software is enough to fire the ISR. */
	USART_IntSet(I2S_BASE, USART_IF_TXUF);
	k_sleep(K_MSEC(ISR_SETTLE_MS));

	/* PREPARE only returns 0 when at least one stream is in ERROR; a
	 * 0 here is the only outcome consistent with the ISR having
	 * latched state=ERROR. */
	TEST_ASSERT_EQUAL_INT_MESSAGE(0,
		i2s_trigger(dev_i2s, I2S_DIR_TX, I2S_TRIGGER_PREPARE),
		"PREPARE must succeed -- expected state==ERROR after TXUF");
}

TEST(i2s_efr32_errors, rxof_overrun_transitions_to_error)
{
	TEST_ASSERT_EQUAL_INT_MESSAGE(0, configure_default_rx(),
		"configure RX failed");
	TEST_ASSERT_EQUAL_INT_MESSAGE(0,
		i2s_trigger(dev_i2s, I2S_DIR_RX, I2S_TRIGGER_START),
		"START RX must succeed");

	USART_IntSet(I2S_BASE, USART_IF_RXOF);
	k_sleep(K_MSEC(ISR_SETTLE_MS));

	TEST_ASSERT_EQUAL_INT_MESSAGE(0,
		i2s_trigger(dev_i2s, I2S_DIR_RX, I2S_TRIGGER_PREPARE),
		"PREPARE must succeed -- expected state==ERROR after RXOF");
}

TEST(i2s_efr32_errors, prepare_after_underrun__back_to_ready_then_runs)
{
	void *blk;

	TEST_ASSERT_EQUAL_INT_MESSAGE(0, configure_default_tx(),
		"configure TX failed");
	TEST_ASSERT_EQUAL_INT_MESSAGE(0,
		i2s_trigger(dev_i2s, I2S_DIR_TX, I2S_TRIGGER_START),
		"first START must succeed");

	USART_IntSet(I2S_BASE, USART_IF_TXUF);
	k_sleep(K_MSEC(ISR_SETTLE_MS));

	TEST_ASSERT_EQUAL_INT_MESSAGE(0,
		i2s_trigger(dev_i2s, I2S_DIR_TX, I2S_TRIGGER_PREPARE),
		"PREPARE must succeed (state==ERROR after the forced TXUF)");

	/* After PREPARE the stream is back in READY. A fresh START must
	 * accept and a follow-up write must enqueue cleanly: this is the
	 * full recovery loop end-to-end. */
	TEST_ASSERT_EQUAL_INT_MESSAGE(0,
		i2s_trigger(dev_i2s, I2S_DIR_TX, I2S_TRIGGER_START),
		"second START after PREPARE must succeed");

	TEST_ASSERT_EQUAL_INT_MESSAGE(0,
		k_mem_slab_alloc(&tx_mem_slab, &blk, K_NO_WAIT),
		"tx slab alloc failed");
	TEST_ASSERT_EQUAL_INT_MESSAGE(0,
		i2s_write(dev_i2s, blk, TEST_BLOCK_SIZE_16BIT),
		"write after recovery must succeed");

	/* Give the DMA a moment to consume so the test ends in a quiescent
	 * state regardless of whether DROP or another underrun fires
	 * first. */
	k_sleep(K_MSEC(50));

	(void)i2s_trigger(dev_i2s, I2S_DIR_TX, I2S_TRIGGER_DROP);
}
```

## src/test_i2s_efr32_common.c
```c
/*
 * Copyright (c) 2026 Silicon Laboratories Inc.
 *
 * SPDX-License-Identifier: Apache-2.0
 */

#include "test_i2s_efr32_common.h"

K_MEM_SLAB_DEFINE(tx_test_slab, WB_UP(TEST_BLOCK_SIZE), TEST_NUM_BLOCKS, WB_UP(32));
K_MEM_SLAB_DEFINE(rx_test_slab, WB_UP(TEST_BLOCK_SIZE), TEST_NUM_BLOCKS, WB_UP(32));
```

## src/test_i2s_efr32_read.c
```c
/*
 * Copyright (c) 2026 Silicon Laboratories Inc.
 *
 * SPDX-License-Identifier: Apache-2.0
 */

#include "unity.h"
#include "test_i2s_efr32_common.h"

void test_read__no_configure_returns_eio(void)
{
	void *blk = NULL;
	size_t size = 0U;

	TEST_ASSERT_EQUAL(-EIO, i2s_read(I2S_DEV, &blk, &size));
}

void test_read__timeout_no_data_returns_ebusy__w16(void)
{
	void *blk = NULL;
	size_t size = 0U;
	int ret;

	TEST_ASSERT_EQUAL(0, test_configure_rx(16, 0));
	TEST_ASSERT_EQUAL(0, i2s_trigger(I2S_DEV, I2S_DIR_RX, I2S_TRIGGER_START));
	ret = i2s_read(I2S_DEV, &blk, &size);
	TEST_ASSERT_EQUAL(-EBUSY, ret);
	i2s_trigger(I2S_DEV, I2S_DIR_RX, I2S_TRIGGER_STOP);
}

void test_read__timeout_no_data_returns_ebusy__w32(void)
{
	void *blk = NULL;
	size_t size = 0U;
	int ret;

	TEST_ASSERT_EQUAL(0, test_configure_rx(32, 0));
	TEST_ASSERT_EQUAL(0, i2s_trigger(I2S_DEV, I2S_DIR_RX, I2S_TRIGGER_START));
	ret = i2s_read(I2S_DEV, &blk, &size);
	TEST_ASSERT_EQUAL(-EBUSY, ret);
	i2s_trigger(I2S_DEV, I2S_DIR_RX, I2S_TRIGGER_STOP);
}

void test_read__short_timeout_returns_eagain__w16(void)
{
	void *blk = NULL;
	size_t size = 0U;
	int ret;
	struct i2s_config cfg;

	test_fill_rx_cfg(&cfg, 16, 1);
	TEST_ASSERT_EQUAL(0, i2s_configure(I2S_DEV, I2S_DIR_RX, &cfg));
	TEST_ASSERT_EQUAL(0, i2s_trigger(I2S_DEV, I2S_DIR_RX, I2S_TRIGGER_START));
	ret = i2s_read(I2S_DEV, &blk, &size);
	TEST_ASSERT_EQUAL(-EAGAIN, ret);
	i2s_trigger(I2S_DEV, I2S_DIR_RX, I2S_TRIGGER_STOP);
}

void test_read__live_data_after_start(void)
{
	void *tx_blk;
	void *rx_blk = NULL;
	uint8_t expected[TEST_BLOCK_SIZE];
	size_t rx_size = 0U;
	int16_t *samples;
	unsigned int i;
	int ret;

	/*
	 * Zephyr I2S loopback pattern (see tests/drivers/i2s/i2s_api):
	 *  - configure RX then TX with matching params
	 *  - queue TX block(s) while READY
	 *  - START RX, then START TX (BCLK/LRCLK from TX controller)
	 *  - i2s_read() receives a driver-owned RX slab block (do not pre-alloc)
	 * Wire: USART0 TX (PC0) -> USART0 RX (PC1), GND common.
	 */
	TEST_ASSERT_EQUAL(0, test_configure_rx(16, 1000));
	TEST_ASSERT_EQUAL(0, test_configure_tx(16, SYS_FOREVER_MS));
	TEST_ASSERT_EQUAL(0, test_alloc_tx_block(&tx_blk));

	samples = (int16_t *)tx_blk;
	for (i = 0U; i < TEST_BLOCK_SIZE / sizeof(int16_t); i++) {
		samples[i] = (int16_t)(0x5500 + (int16_t)i);
	}
	memcpy(expected, tx_blk, TEST_BLOCK_SIZE);

	/* Prefill TX queue before clocks run (same as i2s_api loopback tests). */
	TEST_ASSERT_EQUAL(0, i2s_write(I2S_DEV, tx_blk, TEST_BLOCK_SIZE));

	TEST_ASSERT_EQUAL(0, i2s_trigger(I2S_DEV, I2S_DIR_RX, I2S_TRIGGER_START));
	TEST_ASSERT_EQUAL(0, i2s_trigger(I2S_DEV, I2S_DIR_TX, I2S_TRIGGER_START));

	ret = i2s_read(I2S_DEV, &rx_blk, &rx_size);
	TEST_ASSERT_EQUAL(0, ret);
	TEST_ASSERT_EQUAL(TEST_BLOCK_SIZE, rx_size);
	TEST_ASSERT_EQUAL_MEMORY(expected, rx_blk, TEST_BLOCK_SIZE);

	i2s_trigger(I2S_DEV, I2S_DIR_TX, I2S_TRIGGER_STOP);
	i2s_trigger(I2S_DEV, I2S_DIR_RX, I2S_TRIGGER_STOP);
	test_free_rx_block(rx_blk);
}
```
